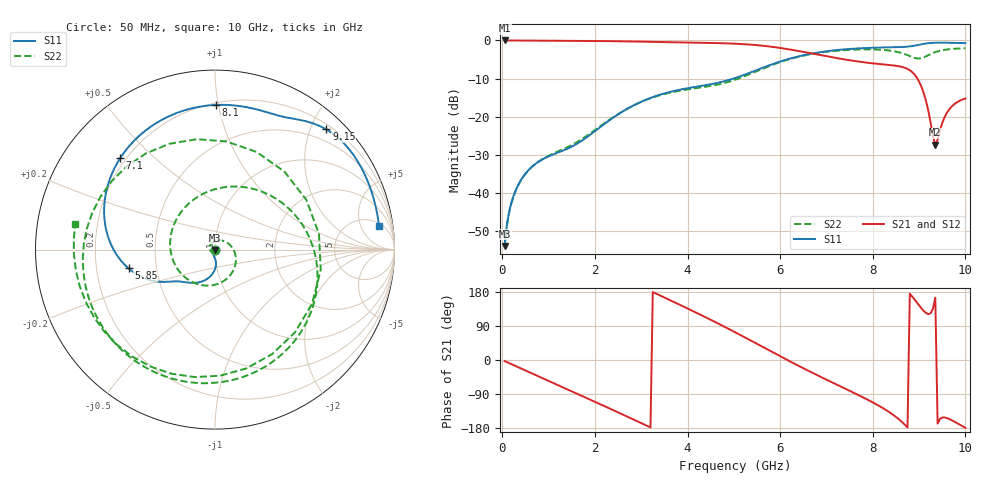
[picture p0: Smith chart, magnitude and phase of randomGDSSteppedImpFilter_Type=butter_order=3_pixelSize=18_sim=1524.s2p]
! freq	dB(S11)	phase(S11)	dB(S12)	phase(S12)
!  dB(S21)	phase(S21)	dB(S22)	phase(S22)
!S-par simulation data
#  GHz  S  DB  R 50
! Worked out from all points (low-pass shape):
!   200 points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, 50 MHz to 10 GHz, reference 50 ohm
!   highest |S21| = -0.01 dB at 50 MHz (marker M1); lowest = -27.3 dB at 9.35 GHz (marker M2)
!   |S21| within 3 dB of the highest: start of sweep to 6.506 GHz
!   lowest |S11| = -53.9 dB at 50 MHz (marker M3), VSWR 1.00, Z = 50 - j0.198 ohm
!   |S11| at or under -10 dB: start of sweep to 4.988 GHz
!   |S22| runs from -53.9 to -2.0 dB; largest |S21 - S12| = 0
!   S11 on the Smith chart (normalised r, x): 50 MHz: 1.00, -0.00; 5.85 GHz: 0.34, -0.09; 7.1 GHz: 0.18, +0.39; 8.1 GHz: 0.21, +0.98; 9.15 GHz: 0.28, +2.26; 10 GHz: 6, +11
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0.05  -53.86 -77.0  -0.01 -2.8  -0.01 -2.8  -53.88 -80.8
0.2  -42.32 -91.1  -0.02 -11.0  -0.02 -11.0  -42.48 -104.6
0.45  -35.68 -98.6  -0.04 -24.7  -0.04 -24.7  -35.79 -129.9
1.15  -29.61 -103.9  -0.08 -63.0  -0.08 -63.0  -29.35 154.6
1.75  -26.00 -89.8  -0.12 -96.2  -0.12 -96.2  -25.58 76.7
2.65  -18.24 -92.8  -0.24 -146.6  -0.24 -146.6  -18.21 -19.9
3.4  -14.23 -113.1  -0.41 170.7  -0.41 170.7  -14.37 -84.9
4.3  -11.91 -135.2  -0.61 118.2  -0.61 118.2  -12.31 -168.3
5.05  -9.76 -146.4  -0.87 71.8  -0.87 71.8  -10.19 108.3
5.85  -6.14 -167.8  -1.71 19.7  -1.71 19.7  -6.34 24.8
6.7  -3.40 155.0  -3.45 -34.0  -3.45 -34.0  -3.52 -45.4
7.1  -2.69 136.0  -4.36 -57.8  -4.36 -57.8  -2.84 -74.1
7.6  -2.15 112.4  -5.37 -87.2  -5.37 -87.2  -2.40 -109.5
8.1  -1.87 89.6  -6.13 -118.6  -6.13 -118.6  -2.40 -149.7
8.35  -1.81 78.9  -6.43 -137.0  -6.43 -137.0  -2.63 -176.1
8.6  -1.74 69.1  -6.85 -160.2  -6.85 -160.2  -3.22 146.5
8.85  -1.48 60.3  -8.27 167.7  -8.27 167.7  -4.35 84.0
9  -1.13 54.4  -10.77 144.1  -10.77 144.1  -4.74 28.6
9.15  -0.79 47.2  -15.89 124.1  -15.89 124.1  -4.16 -29.1
9.35  -0.60 36.8  -27.30 164.4  -27.30 164.4  -3.06 -87.7
9.65  -0.62 22.6  -18.07 -155.7  -18.07 -155.7  -2.30 -143.7
10  -0.70 8.1  -15.21 -179.1  -15.21 -179.1  -2.04 169.5
